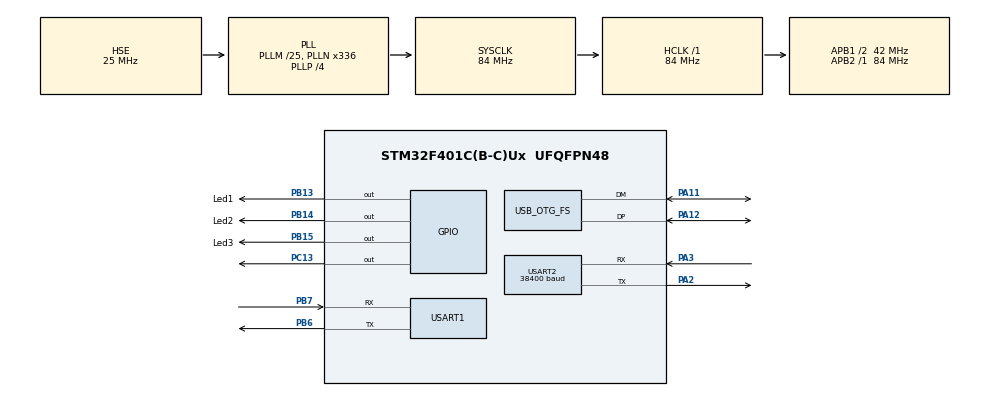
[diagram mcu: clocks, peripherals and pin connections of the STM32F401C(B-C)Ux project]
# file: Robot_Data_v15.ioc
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Dma.Request0=USART1_RX
Dma.USART1_RX.0.Direction=DMA_PERIPH_TO_MEMORY
Dma.USART1_RX.0.FIFOMode=DMA_FIFOMODE_DISABLE
Dma.USART1_RX.0.Instance=DMA2_Stream2
Dma.USART1_RX.0.MemDataAlignment=DMA_MDATAALIGN_BYTE
Dma.USART1_RX.0.MemInc=DMA_MINC_ENABLE
Dma.USART1_RX.0.Mode=DMA_CIRCULAR
Dma.USART1_RX.0.PeriphDataAlignment=DMA_PDATAALIGN_BYTE
Dma.USART1_RX.0.PeriphInc=DMA_PINC_DISABLE
Dma.USART1_RX.0.Priority=DMA_PRIORITY_HIGH
Mcu.Family=STM32F4
Mcu.Name=STM32F401C(B-C)Ux
Mcu.Package=UFQFPN48
NVIC.DMA2_Stream2_IRQn=true\:0\:0\:false\:false\:true\:false\:true\:true
NVIC.OTG_FS_IRQn=true\:0\:0\:false\:false\:true\:false\:true\:true
NVIC.PriorityGroup=NVIC_PRIORITYGROUP_4
NVIC.USART1_IRQn=true\:0\:0\:false\:false\:true\:true\:true\:true
NVIC.USART2_IRQn=true\:0\:0\:false\:false\:true\:true\:true\:true
PA11.Mode=Device_Only
PA11.Signal=USB_OTG_FS_DM
PA12.Mode=Device_Only
PA12.Signal=USB_OTG_FS_DP
PA13.Mode=Serial_Wire
PA13.Signal=SYS_JTMS-SWDIO
PA14.Mode=Serial_Wire
PA14.Signal=SYS_JTCK-SWCLK
PA2.Mode=Asynchronous
PA2.Signal=USART2_TX
PA3.Mode=Asynchronous
PA3.Signal=USART2_RX
PB13.GPIO_Label=Led1
PB13.Signal=GPIO_Output
PB14.GPIO_Label=Led2
PB14.Signal=GPIO_Output
PB15.GPIO_Label=Led3
PB15.Signal=GPIO_Output
PB6.Mode=Asynchronous
PB6.Signal=USART1_TX
PB7.Mode=Asynchronous
PB7.Signal=USART1_RX
PC13-ANTI_TAMP.Signal=GPIO_Output
PH0\ -\ OSC_IN.Mode=HSE-External-Oscillator
PH0\ -\ OSC_IN.Signal=RCC_OSC_IN
PH1\ -\ OSC_OUT.Mode=HSE-External-Oscillator
PH1\ -\ OSC_OUT.Signal=RCC_OSC_OUT
ProjectManager.HeapSize=0x200
ProjectManager.StackSize=0x400
ProjectManager.TargetToolchain=STM32CubeIDE
RCC.48MHZClocksFreq_Value=48000000
RCC.AHBFreq_Value=84000000
RCC.APB1CLKDivider=RCC_HCLK_DIV2
RCC.APB1Freq_Value=42000000
RCC.APB1TimFreq_Value=84000000
RCC.APB2Freq_Value=84000000
RCC.APB2TimFreq_Value=84000000
RCC.CortexFreq_Value=84000000
RCC.HCLKFreq_Value=84000000
RCC.HSE_VALUE=25000000
RCC.HSI_VALUE=16000000
RCC.LSE_VALUE=32768
RCC.PLLM=25
RCC.PLLN=336
RCC.PLLP=RCC_PLLP_DIV4
RCC.PLLQ=7
RCC.SYSCLKFreq_VALUE=84000000
RCC.SYSCLKSource=RCC_SYSCLKSOURCE_PLLCLK
RCC.VCOOutputFreq_Value=336000000
USART1.VirtualMode=VM_ASYNC
USART2.BaudRate=38400
USART2.VirtualMode=VM_ASYNC
USB_DEVICE.CLASS_NAME_FS=CDC
USB_DEVICE.VirtualMode=Cdc
USB_DEVICE.VirtualModeFS=Cdc_FS
USB_OTG_FS.VirtualMode=Device_Only
VP_USB_DEVICE_VS_USB_DEVICE_CDC_FS.Mode=CDC_FS
board=custom

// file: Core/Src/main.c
/* USER CODE BEGIN Header */
/**
  ******************************************************************************
  * @file           : main.c
  * @brief          : Main program body
  ******************************************************************************
  */
/* USER CODE END Header */
#include "main.h"
#include "usb_device.h"

/* USER CODE BEGIN Includes */
#include "usbd_cdc_if.h"
#include "MD49.h"
#include "MTI1.h"
#include <stdio.h>
#include <stdlib.h>
#include <string.h>
/* USER CODE END Includes */

/* USER CODE BEGIN PD */
#define FRAME_PERIOD_MS   10U    // 100 Hz: periodo de respaldo si la IMU no envia
#define IMU_STALE_MS      25U    // sin paquetes de IMU por mas de esto => usar temporizador propio
#define CMD_TIMEOUT_MS    0U     // 0 = desactivado. Ej. 500: detiene motores si el PC deja de mandar comandos
#define STOP_RESEND_MS    100U   // reenvio de la orden de parada mientras dure la falla
#define LED_PERIOD_MS     200U
#define MOTOR_STOP        128U
/* USER CODE END PD */

UART_HandleTypeDef huart1;
UART_HandleTypeDef huart2;
DMA_HandleTypeDef hdma_usart1_rx;

/* USER CODE BEGIN PV */
extern USBD_HandleTypeDef hUsbDeviceFS;

/* Comandos USB: los escribe CDC_Receive_FS (interrupcion USB) */
volatile char     Buffer_rx[64];
volatile uint8_t  string_ready = 0;

static uint32_t last_comm_time = 0;
static uint8_t  vel_r = MOTOR_STOP, vel_l = MOTOR_STOP;

/* Trama USB con doble buffer: nunca se escribe el buffer que el USB esta enviando */
static char     tx_buf[2][256];
static uint8_t  tx_idx = 0;
static char     err_buf[48];

/* Diagnostico (visibles en el depurador) */
volatile uint32_t frames_sent = 0;
volatile uint32_t frames_dropped = 0;
/* USER CODE END PV */

void SystemClock_Config(void);
static void MX_GPIO_Init(void);
static void MX_DMA_Init(void);
static void MX_USART2_UART_Init(void);
static void MX_USART1_UART_Init(void);
/* USER CODE BEGIN PFP */
static void Process_USB_Command(void);
static void Safety_Check(uint32_t now);
static void Send_Frame(void);
/* USER CODE END PFP */

/* USER CODE BEGIN 0 */
/* ---------------------------- Callbacks HAL ------------------------------ */
void HAL_UART_RxCpltCallback(UART_HandleTypeDef *huart)
{
    if (huart->Instance == USART1)      MTi1_RxCpltCallback(huart);
    else if (huart->Instance == USART2) MD49_RxCpltCallback(huart);
}

void HAL_UART_ErrorCallback(UART_HandleTypeDef *huart)
{
    if (huart->Instance == USART1)      MTi1_ErrorCallback(huart);
    else if (huart->Instance == USART2) MD49_ErrorCallback(huart);
}

/* ------------------- Formateo rapido (sin sprintf/%f) -------------------- */
static char *put_str(char *p, const char *s)
{
    while (*s) *p++ = *s++;
    return p;
}

static char *put_u32(char *p, uint32_t v)
{
    char t[10];
    int n = 0;
    do { t[n++] = (char)('0' + v % 10U); v /= 10U; } while (v);
    while (n) *p++ = t[--n];
    return p;
}

/* Numero con 'dec' decimales (0..6), redondeado. Equivale a "%.<dec>f". */
static char *put_fixed(char *p, float v, uint8_t dec)
{
    static const uint32_t p10[7] = {1U, 10U, 100U, 1000U, 10000U, 100000U, 1000000U};
    if (dec > 6) dec = 6;
    if (v != v) v = 0.0f;                         /* NaN */
    uint8_t neg = (v < 0.0f);
    if (neg) v = -v;
    float lim = 4.0e9f / (float)p10[dec];         /* evita desbordar uint32 */
    if (v > lim) v = lim;

    uint32_t x = (uint32_t)(v * (float)p10[dec] + 0.5f);
    if (neg && x) *p++ = '-';
    p = put_u32(p, x / p10[dec]);
    if (dec) {
        uint32_t f = x % p10[dec];
        *p++ = '.';
        for (int i = dec - 1; i >= 0; i--) { p[i] = (char)('0' + f % 10U); f /= 10U; }
        p += dec;
    }
    return p;
}

/* Mismo formato que antes:
 * E,e1,e2;V,v;I,i1,i2;S,err,mod,ac,A,ax,ay,az,G,gx,gy,gz,O,q0,q1,q2,q3,F,f\r\n */
static uint16_t Build_Frame(char *b, const MD49_Data_t *m, const MTi1_Data_t *imu, float freq)
{
    char *p = b;
    p = put_str(p, "E,");  p = put_fixed(p, m->vel1_pps, 2); *p++ = ','; p = put_fixed(p, m->vel2_pps, 2);
    p = put_str(p, ";V,"); p = put_fixed(p, m->volts, 2);
    p = put_str(p, ";I,"); p = put_fixed(p, m->i1, 2); *p++ = ','; p = put_fixed(p, m->i2, 2);
    p = put_str(p, ";S,"); p = put_u32(p, m->t_err); *p++ = ','; p = put_u32(p, m->mode);
    *p++ = ',';            p = put_u32(p, m->accel);
    p = put_str(p, ",A,"); p = put_fixed(p, imu->acc_x, 3); *p++ = ',';
                           p = put_fixed(p, imu->acc_y, 3); *p++ = ',';
                           p = put_fixed(p, imu->acc_z, 3);
    p = put_str(p, ",G,"); p = put_fixed(p, imu->gyr_x, 3); *p++ = ',';
                           p = put_fixed(p, imu->gyr_y, 3); *p++ = ',';
                           p = put_fixed(p, imu->gyr_z, 3);
    p = put_str(p, ",O,"); p = put_fixed(p, imu->q0, 3); *p++ = ',';
                           p = put_fixed(p, imu->q1, 3); *p++ = ',';
                           p = put_fixed(p, imu->q2, 3); *p++ = ',';
                           p = put_fixed(p, imu->q3, 3);
    p = put_str(p, ",F,"); p = put_fixed(p, freq, 1);
    p = put_str(p, "\r\n");
    return (uint16_t)(p - b);
}

/* --------------------------- Envio de la trama --------------------------- */
static void Send_Frame(void)
{
    static uint32_t last_cyc = 0;
    static uint8_t  first = 1;

    /* Frecuencia real entre tramas medida con el contador de ciclos */
    uint32_t cyc = DWT->CYCCNT;
    float freq = 0.0f;
    if (!first && cyc != last_cyc) freq = (float)SystemCoreClock / (float)(cyc - last_cyc);
    first = 0;
    last_cyc = cyc;

    if (hUsbDeviceFS.dev_state != USBD_STATE_CONFIGURED) return;

    char *b = tx_buf[tx_idx];
    uint16_t len = Build_Frame(b, MD49_GetData(), MTi1_GetData(), freq);

    if (CDC_Transmit_FS((uint8_t *)b, len) == USBD_OK) {
        tx_idx ^= 1U;            /* el proximo frame se arma en el otro buffer */
        frames_sent++;
    } else {
        frames_dropped++;        /* USB ocupado: se descarta, nunca se bloquea */
    }
}

/* ------------------------ Comandos desde el PC --------------------------- */
static void Process_USB_Command(void)
{
    if (!string_ready) return;

    char cmd[sizeof(Buffer_rx)];
    __disable_irq();                         /* copia atomica (~1 us) */
    for (uint32_t i = 0; i < sizeof(cmd); i++) cmd[i] = Buffer_rx[i];
    string_ready = 0;
    __enable_irq();
    cmd[sizeof(cmd) - 1] = '\0';

    /* Formato: <letra><vel_r>,<vel_l>   p.ej. "S128,200" (base 10) */
    char *end1, *end2;
    long r = strtol(&cmd[1], &end1, 10);
    if (end1 != &cmd[1] && *end1 == ',') {
        long l = strtol(end1 + 1, &end2, 10);
        if (end2 != end1 + 1 && r >= 0 && r <= 255 && l >= 0 && l <= 255) {
            vel_r = (uint8_t)r;
            vel_l = (uint8_t)l;
            MD49_RequestSpeed(vel_r, vel_l);
            last_comm_time = HAL_GetTick();
            return;
        }
    }

    /* Comando invalido: avisar solo si el USB esta libre */
    char *p = put_str(err_buf, "error: bad command\r\n");
    CDC_Transmit_FS((uint8_t *)err_buf, (uint16_t)(p - err_buf));
}

/* ----------------------------- Seguridad --------------------------------- */
static void Safety_Check(uint32_t now)
{
    static uint32_t last_stop = 0;
    uint8_t lost = (hUsbDeviceFS.dev_state != USBD_STATE_CONFIGURED);

#if (CMD_TIMEOUT_MS > 0)
    if ((now - last_comm_time) > CMD_TIMEOUT_MS) lost = 1;
#endif

    if (lost && (now - last_stop) >= STOP_RESEND_MS) {
        last_stop = now;
        vel_r = MOTOR_STOP;
        vel_l = MOTOR_STOP;
        MD49_RequestSpeed(vel_r, vel_l);
    }
}
/* USER CODE END 0 */

int main(void)
{

  /* MCU Configuration--------------------------------------------------------*/

  /* Reset of all peripherals, Initializes the Flash interface and the Systick. */
  HAL_Init();

  /* Configure the system clock */
  SystemClock_Config();

  /* Initialize all configured peripherals */
  MX_GPIO_Init();
  MX_DMA_Init();
  MX_USB_DEVICE_Init();
  MX_USART2_UART_Init();
  MX_USART1_UART_Init();
  /* USER CODE BEGIN 2 */

  CoreDebug->DEMCR |= CoreDebug_DEMCR_TRCENA_Msk;
  DWT->CTRL |= DWT_CTRL_CYCCNTENA_Msk;

  MD49_Init(&huart2);      /* bloqueante solo aqui: reset de encoders e info */
  HAL_Delay(200);
  MTi1_Init(&huart1);      /* configura la IMU y arranca la recepcion por DMA */

  uint32_t next_frame_ms = HAL_GetTick() + FRAME_PERIOD_MS;
  uint32_t last_led_tick = HAL_GetTick();
  last_comm_time = HAL_GetTick();
  /* USER CODE END 2 */

  /* Infinite loop */
    while (1) {

    /* USER CODE BEGIN 3 */

    	uint32_t now = HAL_GetTick();

    	    /* Tareas no bloqueantes: cada una retorna en microsegundos */
    	    MTi1_ProcessRx();
    	    MD49_Task();
    	    Process_USB_Command();
    	    Safety_Check(now);

    	    /* Trama general: se envia al llegar cada paquete de la IMU (100 Hz).
    	       Si la IMU deja de enviar, se usa un temporizador propio de 10 ms. */
    	    uint8_t imu_new   = MTi1_ConsumeNewData();
    	    uint8_t imu_alive = (now - MTi1_LastPacketTick()) < IMU_STALE_MS;

    	    if (imu_new) {
    	        Send_Frame();
    	        next_frame_ms = now + FRAME_PERIOD_MS;
    	    } else if (!imu_alive && (int32_t)(now - next_frame_ms) >= 0) {
    	        Send_Frame();
    	        next_frame_ms += FRAME_PERIOD_MS;
    	        if ((int32_t)(now - next_frame_ms) >= 0) next_frame_ms = now + FRAME_PERIOD_MS;
    	    }

    	    if ((now - last_led_tick) >= LED_PERIOD_MS) {
    	        last_led_tick += LED_PERIOD_MS;
    	        HAL_GPIO_TogglePin(GPIOC, GPIO_PIN_13);
    	        HAL_GPIO_TogglePin(Led1_GPIO_Port, Led1_Pin);
    	    }
    	  }
  /* USER CODE END 3 */
}

void SystemClock_Config(void)
{
  RCC_OscInitTypeDef RCC_OscInitStruct = {0};
  RCC_ClkInitTypeDef RCC_ClkInitStruct = {0};

  /** Configure the main internal regulator output voltage
  */
  __HAL_RCC_PWR_CLK_ENABLE();
  __HAL_PWR_VOLTAGESCALING_CONFIG(PWR_REGULATOR_VOLTAGE_SCALE2);

  /** Initializes the RCC Oscillators according to the specified parameters
  * in the RCC_OscInitTypeDef structure.
  */
  RCC_OscInitStruct.OscillatorType = RCC_OSCILLATORTYPE_HSE;
  RCC_OscInitStruct.HSEState = RCC_HSE_ON;
  RCC_OscInitStruct.PLL.PLLState = RCC_PLL_ON;
  RCC_OscInitStruct.PLL.PLLSource = RCC_PLLSOURCE_HSE;
  RCC_OscInitStruct.PLL.PLLM = 25;
  RCC_OscInitStruct.PLL.PLLN = 336;
  RCC_OscInitStruct.PLL.PLLP = RCC_PLLP_DIV4;
  RCC_OscInitStruct.PLL.PLLQ = 7;
  if (HAL_RCC_OscConfig(&RCC_OscInitStruct) != HAL_OK)
  {
    Error_Handler();
  }

  /** Initializes the CPU, AHB and APB buses clocks
  */
  RCC_ClkInitStruct.ClockType = RCC_CLOCKTYPE_HCLK|RCC_CLOCKTYPE_SYSCLK
                              |RCC_CLOCKTYPE_PCLK1|RCC_CLOCKTYPE_PCLK2;
  RCC_ClkInitStruct.SYSCLKSource = RCC_SYSCLKSOURCE_PLLCLK;
  RCC_ClkInitStruct.AHBCLKDivider = RCC_SYSCLK_DIV1;
  RCC_ClkInitStruct.APB1CLKDivider = RCC_HCLK_DIV2;
  RCC_ClkInitStruct.APB2CLKDivider = RCC_HCLK_DIV1;

  if (HAL_RCC_ClockConfig(&RCC_ClkInitStruct, FLASH_LATENCY_2) != HAL_OK)
  {
    Error_Handler();
  }
}

static void MX_USART1_UART_Init(void)
{

  huart1.Instance = USART1;
  huart1.Init.BaudRate = 115200;
  huart1.Init.WordLength = UART_WORDLENGTH_8B;
  huart1.Init.StopBits = UART_STOPBITS_1;
  huart1.Init.Parity = UART_PARITY_NONE;
  huart1.Init.Mode = UART_MODE_TX_RX;
  huart1.Init.HwFlowCtl = UART_HWCONTROL_NONE;
  huart1.Init.OverSampling = UART_OVERSAMPLING_16;
  if (HAL_UART_Init(&huart1) != HAL_OK)
  {
    Error_Handler();
  }

}

static void MX_USART2_UART_Init(void)
{

  huart2.Instance = USART2;
  huart2.Init.BaudRate = 38400;
  huart2.Init.WordLength = UART_WORDLENGTH_8B;
  huart2.Init.StopBits = UART_STOPBITS_1;
  huart2.Init.Parity = UART_PARITY_NONE;
  huart2.Init.Mode = UART_MODE_TX_RX;
  huart2.Init.HwFlowCtl = UART_HWCONTROL_NONE;
  huart2.Init.OverSampling = UART_OVERSAMPLING_16;
  if (HAL_UART_Init(&huart2) != HAL_OK)
  {
    Error_Handler();
  }

}

static void MX_DMA_Init(void)
{

  /* DMA controller clock enable */
  __HAL_RCC_DMA2_CLK_ENABLE();

  /* DMA interrupt init */
  /* DMA2_Stream2_IRQn interrupt configuration */
  HAL_NVIC_SetPriority(DMA2_Stream2_IRQn, 0, 0);
  HAL_NVIC_EnableIRQ(DMA2_Stream2_IRQn);

}

static void MX_GPIO_Init(void)
{
  GPIO_InitTypeDef GPIO_InitStruct = {0};

  /* GPIO Ports Clock Enable */
  __HAL_RCC_GPIOC_CLK_ENABLE();
  __HAL_RCC_GPIOH_CLK_ENABLE();
  __HAL_RCC_GPIOA_CLK_ENABLE();
  __HAL_RCC_GPIOB_CLK_ENABLE();

  /*Configure GPIO pin Output Level */
  HAL_GPIO_WritePin(GPIOC, GPIO_PIN_13, GPIO_PIN_RESET);

  /*Configure GPIO pin Output Level */
  HAL_GPIO_WritePin(GPIOB, Led1_Pin|Led2_Pin|Led3_Pin, GPIO_PIN_RESET);

  /*Configure GPIO pin : PC13 */
  GPIO_InitStruct.Pin = GPIO_PIN_13;
  GPIO_InitStruct.Mode = GPIO_MODE_OUTPUT_PP;
  GPIO_InitStruct.Pull = GPIO_NOPULL;
  GPIO_InitStruct.Speed = GPIO_SPEED_FREQ_LOW;
  HAL_GPIO_Init(GPIOC, &GPIO_InitStruct);

  /*Configure GPIO pins : Led1_Pin Led2_Pin Led3_Pin */
  GPIO_InitStruct.Pin = Led1_Pin|Led2_Pin|Led3_Pin;
  GPIO_InitStruct.Mode = GPIO_MODE_OUTPUT_PP;
  GPIO_InitStruct.Pull = GPIO_NOPULL;
  GPIO_InitStruct.Speed = GPIO_SPEED_FREQ_LOW;
  HAL_GPIO_Init(GPIOB, &GPIO_InitStruct);

}

void Error_Handler(void)
{
  __disable_irq();
  while (1)
  {
  }
}
